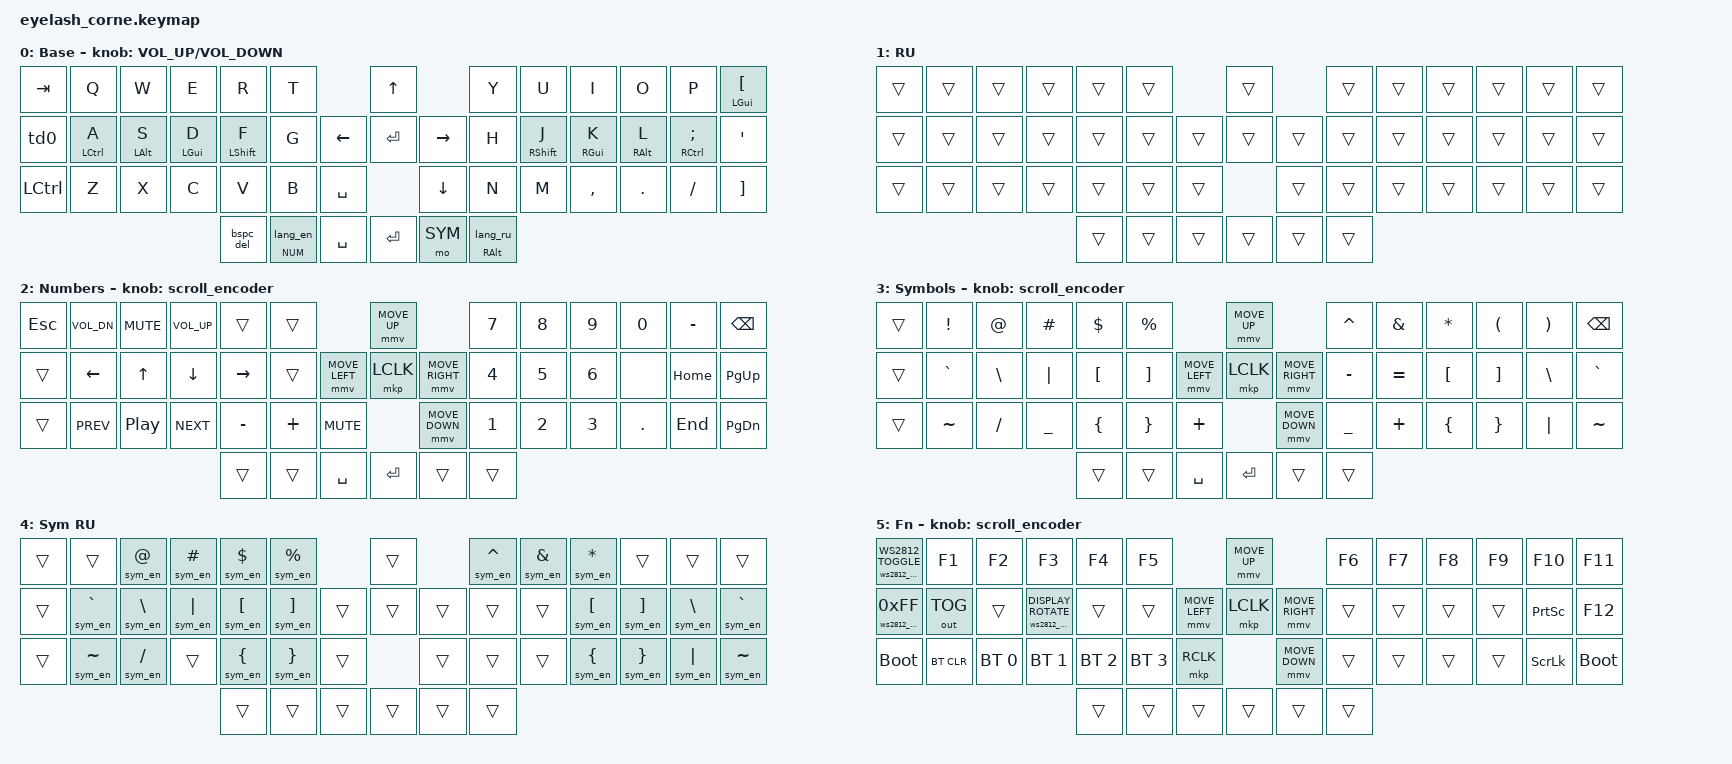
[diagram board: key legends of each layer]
#define ZMK_POINTING_DEFAULT_MOVE_VAL 1200  // 600
#define ZMK_POINTING_DEFAULT_SCRL_VAL 25   // 10

#include <input/processors.dtsi>
#include <zephyr/dt-bindings/input/input-event-codes.h>
#include <behaviors.dtsi>
#include <dt-bindings/zmk/bt.h>
#include <dt-bindings/zmk/keys.h>
#include <dt-bindings/zmk/outputs.h>
#include <dt-bindings/zmk/pointing.h>
// Include the WS2812 widget behavior
#include <behaviors/ws2812_widget.dtsi>
#include <behaviors/ws2812_layer.dtsi>

#define WS2812_TOGGLE 254
#define DISPLAY_ROTATE 253

#define BASE   0
#define RU     1   // прозрачный: активен, пока на Mac включён русский (см. lang_ru/lang_en)
#define NUM    2
#define SYM    3
#define SYM_RU 4   // SYM + RU: символы, которых нет в русской раскладке, печатаются через EN
#define FN     5

/* Смена раскладки на Mac: F18 = English, F19 = Russian (Keyboard Maestro →
 * «Set Keyboard Layout» по горячей клавише). LANG_SWITCH_MS — пауза, чтобы
 * Mac успел переключить раскладку до символа; увеличить, если символы
 * иногда печатаются русскими буквами. */
#define LANG_SWITCH_MS 50

&mmv_input_listener { input-processors = <&zip_xy_scaler 2 1>; };

&msc_input_listener { input-processors = <&zip_scroll_scaler 2 1>; };

&msc {
    acceleration-exponent = <1>;      // 0
    time-to-max-speed-ms = <100>;       // 300
    delay-ms = <0>;                   // 0
};

&mmv {
    time-to-max-speed-ms = <500>;
    acceleration-exponent = <1>;
    trigger-period-ms = <16>;
};

&soft_off { hold-time-ms = <2000>; };

/ {
    /* zmk,ws2812-widget задаётся в overlay каждой половинки (boards/arm/eyelash_corne/).
     * На донгле led_strip нет — ws2812-widget там не нужен (только behavior relay). */

    behaviors {
        td0: td0 {
            compatible = "zmk,behavior-tap-dance";
            display-name = "Shift/Caps Word Tap Dance";
            #binding-cells = <0>;
            bindings = <&kp LEFT_SHIFT>, <&caps_word>;
        };

        /* Shift+Backspace = Delete (Shift при этом не отправляется) */
        bspc_del: bspc_del {
            compatible = "zmk,behavior-mod-morph";
            #binding-cells = <0>;
            bindings = <&kp BSPC>, <&kp DEL>;
            mods = <(MOD_LSFT|MOD_RSFT)>;
        };

        /* Нажатие: English. Удержание: слой NUM. */
        lt_en: layer_tap_en {
            compatible = "zmk,behavior-hold-tap";
            #binding-cells = <2>;
            flavor = "balanced";
            tapping-term-ms = <200>;
            bindings = <&mo>, <&lang_en>;
        };

        /* Нажатие: Russian. Удержание: Right Alt. */
        ht_ru: hold_tap_ru {
            compatible = "zmk,behavior-hold-tap";
            #binding-cells = <2>;
            flavor = "hold-preferred";
            tapping-term-ms = <200>;
            bindings = <&kp>, <&lang_ru>;
        };
    };

    macros {
        lang_en: lang_en {
            compatible = "zmk,behavior-macro";
            #binding-cells = <0>;
            bindings = <&macro_tap &kp F18 &to BASE>;
        };

        lang_ru: lang_ru {
            compatible = "zmk,behavior-macro";
            #binding-cells = <0>;
            bindings = <&macro_tap &kp F19 &to RU>;
        };

        /* Символ через английскую раскладку и обратно на русскую */
        sym_en: sym_en {
            compatible = "zmk,behavior-macro-one-param";
            #binding-cells = <1>;
            wait-ms = <LANG_SWITCH_MS>;
            tap-ms = <10>;
            bindings
                = <&macro_tap &kp F18>
                , <&macro_param_1to1>
                , <&macro_tap &kp MACRO_PLACEHOLDER>
                , <&macro_tap &kp F19>
                ;
        };
    };

    /* ============================================================
     * Подсветка слоёв: автоматическая. Центральный слушатель в
     * widget.c при смене слоя ретранслирует
     * &ws2812_layer <слой> на обе половинки (global behavior).
     * Поэтому в keymap используются обычные &mo / &lt — никаких
     * макросов не нужно. Цвета задаются в widget.c (per-key таблицы).
     *
     * &ws2812_wdg 0xFF — автоопределение слоя (central) или
     *   использование сохранённого слоя (peripheral)
     * &ws2812_layer N — установить цвет слоя N (relay на peripheral)
     * ============================================================ */

    rgb_encoder: rgb_encoder {
        compatible = "zmk,behavior-sensor-rotate";
        #sensor-binding-cells = <0>;
        bindings = <&ws2812_wdg 0xFF>, <&ws2812_wdg 0xFF>;
    };

    scroll_encoder: scroll_encoder {
        compatible = "zmk,behavior-sensor-rotate";
        #sensor-binding-cells = <0>;
        bindings = <&msc SCRL_DOWN>, <&msc SCRL_UP>;

        tap-ms = <100>;
    };

    /* Home-row mods, «timeless» схема (urob/zmk-config):
     * - позиционные: модификатор срабатывает только если следующая клавиша
     *   на другой руке (или большой палец/центр) — перекаты внутри руки = буквы;
     * - hold-trigger-on-release: можно зажать несколько модов одной руки (Cmd+Shift);
     * - require-prior-idle: во время быстрого набора — всегда буква. */
    hml: home_row_mod_left {
        compatible = "zmk,behavior-hold-tap";
        #binding-cells = <2>;
        flavor = "balanced";
        tapping-term-ms = <280>;
        quick-tap-ms = <175>;
        require-prior-idle-ms = <150>;
        hold-trigger-key-positions = <6 7 8 9 10 11 12 19 20 21 22 23 24 25 26 27 34 35 36 37 38 39 40 41 42 43 44 45 46 47>;
        hold-trigger-on-release;
        bindings = <&kp>, <&kp>;
    };

    hmr: home_row_mod_right {
        compatible = "zmk,behavior-hold-tap";
        #binding-cells = <2>;
        flavor = "balanced";
        tapping-term-ms = <280>;
        quick-tap-ms = <175>;
        require-prior-idle-ms = <150>;
        hold-trigger-key-positions = <0 1 2 3 4 5 6 13 14 15 16 17 18 19 20 21 28 29 30 31 32 33 34 35 42 43 44 45 46 47>;
        hold-trigger-on-release;
        bindings = <&kp>, <&kp>;
    };

    combos {
        compatible = "zmk,combos";
        /* require-prior-idle: комбо не срабатывают посреди слова ("interface" ≠ "(") */
        combo_esc {
            bindings = <&kp ESC>;
            key-positions = <1 2>;          // Q + W
            timeout-ms = <40>;
            require-prior-idle-ms = <150>;
            layers = <BASE RU>;
        };
        combo_lpar {
            bindings = <&kp LPAR>;
            key-positions = <4 17>;         // R + F (как 4+R на Charybdis)
            timeout-ms = <40>;
            require-prior-idle-ms = <150>;
            layers = <BASE RU>;
        };
        combo_rpar {
            bindings = <&kp RPAR>;
            key-positions = <8 23>;         // U + J (как 7+U на Charybdis)
            timeout-ms = <40>;
            require-prior-idle-ms = <150>;
            layers = <BASE RU>;
        };
        softoff {
            bindings = <&soft_off>;
            key-positions = <42 43 47>;
            timeout-ms = <100>;
            layers = <BASE RU>;
        };
    };

    conditional_layers {
        compatible = "zmk,conditional-layers";

        fn_layer {
            if-layers = <NUM SYM>;
            then-layer = <FN>;
        };

        sym_ru_layer {
            if-layers = <SYM RU>;
            then-layer = <SYM_RU>;
        };
    };

    keymap {
        compatible = "zmk,keymap";

        default_layer {
            display-name = "Base";
            bindings = <
&kp TAB    &kp Q          &kp W  &kp E     &kp R                &kp T                                                   &kp UP                &kp Y          &kp U               &kp I                  &kp O                &kp P                 &mt LEFT_GUI LEFT_BRACKET
&td0       &hml LCTRL A   &hml LEFT_ALT S  &hml LEFT_GUI D      &hml LSHFT F   &kp G                          &kp LEFT  &kp ENTER  &kp RIGHT  &kp H          &hmr RSHFT J        &hmr RIGHT_GUI K       &hmr RIGHT_ALT L     &hmr RCTRL SEMI       &kp APOS
&kp LCTRL  &kp Z          &kp X            &kp C                &kp V          &kp B   &kp SPACE                        &kp DOWN              &kp N          &kp M               &kp COMMA              &kp DOT              &kp FSLH              &kp RIGHT_BRACKET
                                                                &bspc_del      &lt_en NUM 0 &kp SPACE            &kp ENTER  &mo SYM    &ht_ru RALT 0
            >;

             sensor-bindings = <&inc_dec_kp C_VOLUME_UP C_VOLUME_DOWN>;
        };

        ru_layer {
            display-name = "RU";
            bindings = <
&trans &trans &trans &trans &trans &trans &trans &trans &trans &trans &trans &trans &trans
&trans &trans &trans &trans &trans &trans &trans &trans &trans &trans &trans &trans &trans &trans &trans
&trans &trans &trans &trans &trans &trans &trans &trans &trans &trans &trans &trans &trans &trans
&trans &trans &trans &trans &trans &trans
            >;
        };

        lower_layer {
            display-name = "Numbers";
            bindings = <
&kp ESC    &kp C_VOL_DN     &kp C_MUTE      &kp C_VOL_UP  &trans          &trans                                         &mmv MOVE_UP                      &kp N7           &kp N8           &kp N9          &kp N0           &kp MINUS &kp BSPC
&trans    &kp LEFT          &kp UP          &kp DOWN      &kp RIGHT       &trans                          &mmv MOVE_LEFT  &mkp LCLK       &mmv MOVE_RIGHT  &kp N4           &kp N5          &kp N6           &none            &kp HOME  &kp PG_UP
&trans    &kp C_PREV        &kp C_PP        &kp C_NEXT    &kp MINUS       &kp PLUS &kp C_MUTE                    &mmv MOVE_DOWN                      &kp N1           &kp N2           &kp N3           &kp DOT          &kp END   &kp PG_DN
                                &trans     &trans     &kp SPACE                                                              &kp RET    &trans     &trans
            >;

            sensor-bindings = <&scroll_encoder>;
        };

        raise_layer {
            display-name = "Symbols";
            bindings = <
&trans  &kp EXCL      &kp AT        &kp HASH   &kp DLLR   &kp PRCNT                                  &mmv MOVE_UP                        &kp CARET  &kp AMPS   &kp ASTRK  &kp LPAR  &kp RPAR  &kp BSPC
&trans  &kp GRAVE     &kp BSLH      &kp PIPE   &kp LBKT   &kp RBKT                      &mmv MOVE_LEFT  &mkp LCLK       &mmv MOVE_RIGHT  &kp MINUS  &kp EQUAL  &kp LBKT   &kp RBKT  &kp BSLH  &kp GRAVE
&trans  &kp TILDE     &kp FSLH      &kp UNDER  &kp LBRC   &kp RBRC      &kp PLUS                  &mmv MOVE_DOWN                      &kp UNDER  &kp PLUS   &kp LBRC   &kp RBRC  &kp PIPE  &kp TILDE
                                    &trans     &trans     &kp SPACE                                                              &kp RET    &trans     &trans
            >;

            sensor-bindings = <&scroll_encoder>;
        };

        sym_ru_layer {
            display-name = "Sym RU";
            bindings = <
&trans  &trans        &sym_en AT   &sym_en HASH  &sym_en DLLR  &sym_en PRCNT                                  &trans                        &sym_en CARET  &sym_en AMPS  &sym_en ASTRK  &trans  &trans  &trans
&trans  &sym_en GRAVE  &sym_en BSLH &sym_en PIPE  &sym_en LBKT  &sym_en RBKT                      &trans  &trans  &trans         &trans        &trans       &sym_en LBKT   &sym_en RBKT  &sym_en BSLH  &sym_en GRAVE
&trans  &sym_en TILDE  &sym_en FSLH &trans        &sym_en LBRC  &sym_en RBRC  &trans                  &trans                  &trans        &trans       &sym_en LBRC   &sym_en RBRC  &sym_en PIPE  &sym_en TILDE
                                    &trans     &trans     &trans                                                              &trans    &trans     &trans
            >;
        };

        layer_3 {
            display-name = "Fn";
            bindings = <
&ws2812_wdg WS2812_TOGGLE  &kp F1           &kp F2          &kp F3        &kp F4        &kp F5                                         &mmv MOVE_UP                             &kp F6                &kp F7     &kp F8       &kp F9      &kp F10          &kp F11
&ws2812_wdg 0xFF        &out OUT_TOG     &trans          &ws2812_wdg DISPLAY_ROTATE  &trans        &trans                       &mmv MOVE_LEFT  &mkp LCLK       &mmv MOVE_RIGHT            &trans                &trans     &trans       &trans      &kp PRINTSCREEN  &kp F12
&bootloader &bt BT_CLR       &bt BT_SEL 0    &bt BT_SEL 1  &bt BT_SEL 2  &bt BT_SEL 3     &mkp RCLK                      &mmv MOVE_DOWN                          &trans                &trans     &trans       &trans      &kp SCROLLLOCK   &bootloader

                                &trans     &trans   &trans                                                               &trans     &trans     &trans
            >;

            sensor-bindings = <&scroll_encoder>;
        };

    };
};
